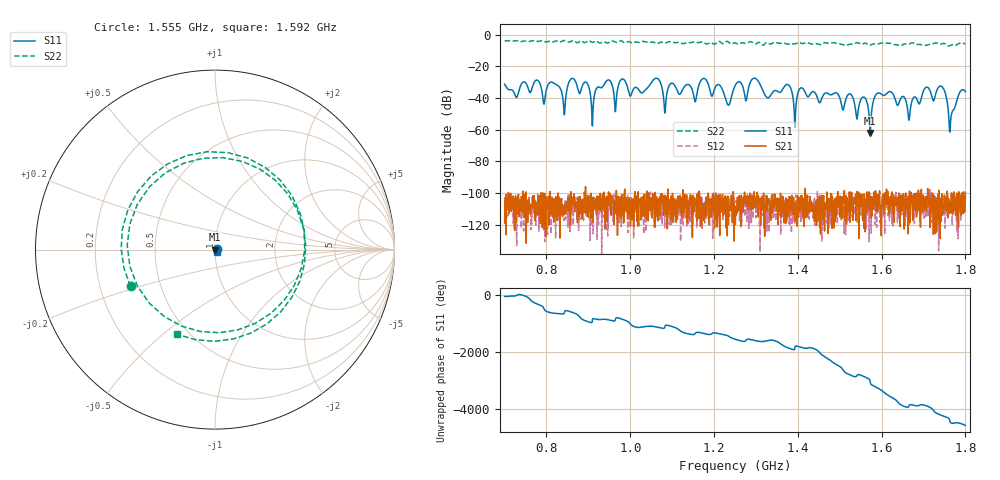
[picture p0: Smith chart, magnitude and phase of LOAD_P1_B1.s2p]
# Hz S RI R 50
! RAW DATA - UNCALIBRATED
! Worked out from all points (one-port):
!   1601 points, 700 MHz to 1.8 GHz, reference 50 ohm
!   lowest |S11| = -62.1 dB at 1.573 GHz (marker M1), VSWR 1.00, Z = 49.9 + j0.0371 ohm
!   |S11| at or under -10 dB: start of sweep to end of sweep
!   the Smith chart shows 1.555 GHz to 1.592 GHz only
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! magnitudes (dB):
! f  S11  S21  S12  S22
! 700 MHz  -31.3  -119.0  -103.0  -3.7
! 883.6 MHz  -33.9  -105.6  -104.3  -3.9
! 910.4 MHz  -51.0  -118.7  -111.5  -4.8
! 946.1 MHz  -28.6  -102.1  -127.1  -5.2
! 964.7 MHz  -48.6  -110.3  -105.1  -4.7
! 980.5 MHz  -27.9  -113.3  -106.6  -4.1
! 1.067 GHz  -28.1  -104.8  -106.7  -5.4
! 1.083 GHz  -49.5  -103.7  -105.6  -5.2
! 1.176 GHz  -27.6  -113.6  -106.6  -4.9
! 1.234 GHz  -44.5  -120.0  -106.3  -4.6
! 1.25 GHz  -32.3  -111.3  -110.1  -5.1
! 1.376 GHz  -31.4  -104.1  -114.4  -5.9
! 1.393 GHz  -58.6  -113.7  -119.9  -5.8
! 1.434 GHz  -36.2  -111.5  -107.6  -5.9
! 1.541 GHz  -53.2  -99.1  -105.4  -5.0
! 1.558 GHz  -39.4  -122.3  -104.0  -5.4
! 1.573 GHz  -62.1  -107.6  -112.0  -6.6
! 1.617 GHz  -36.1  -113.3  -109.1  -5.3
! 1.665 GHz  -54.0  -101.8  -119.9  -5.9
! 1.742 GHz  -32.5  -103.0  -104.3  -5.8
! 1.765 GHz  -53.8  -106.4  -111.1  -6.6
! 1.8 GHz  -36.0  -99.6  -106.7  -5.7
